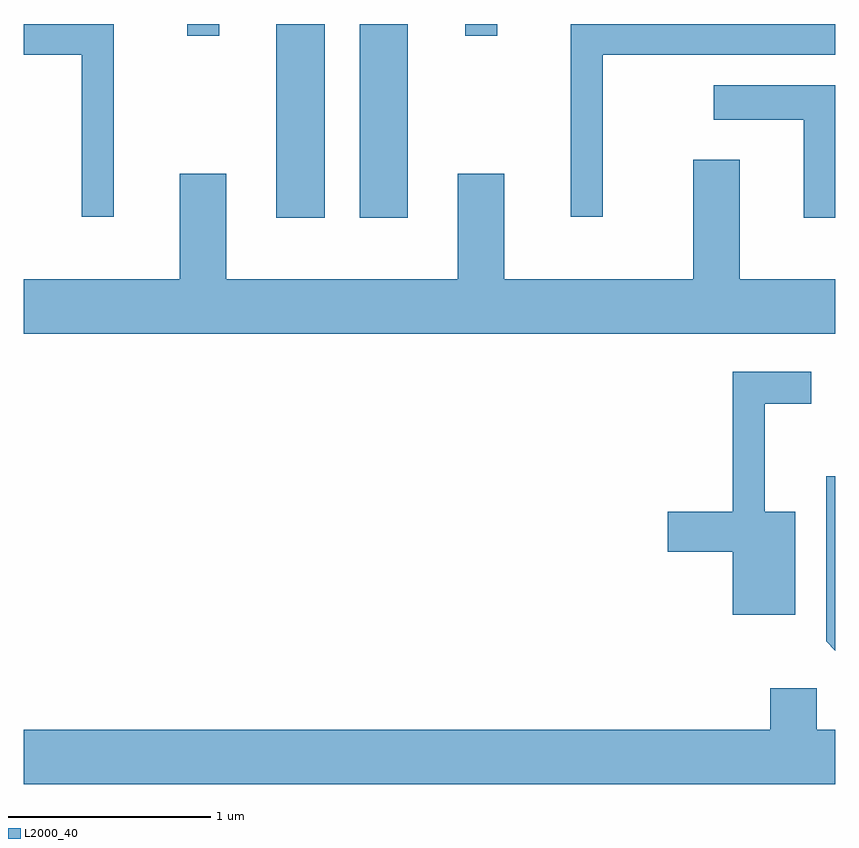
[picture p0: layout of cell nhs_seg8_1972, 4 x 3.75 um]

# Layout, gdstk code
import gdstk
lib = gdstk.Library(unit=1e-6, precision=1e-09)
def R(c, l, rs):  # rectangles x0, y0, x1, y1
    for r in rs: c.add(gdstk.rectangle(r[:2], r[2:], *l))
def P(c, l, *ps):  # polygons
    for p in ps: c.add(gdstk.Polygon(p, *l))
L2000_40 = (2000, 40)

nhs_seg8_1972 = lib.new_cell('nhs_seg8_1972')
R(nhs_seg8_1972, L2000_40, [(244.856,1881.386,245.094,1882.342), (245.266,1881.386,245.504,1882.342), (244.416,1882.283,244.574,1882.342), (245.786,1882.283,245.944,1882.342)])
P(nhs_seg8_1972, L2000_40, [(244.054,1882.342),(243.611,1882.342),(243.611,1882.191),(243.896,1882.191),(243.896,1881.393),(244.054,1881.393)],
  [(246.464,1882.191),(247.611,1882.191),(247.611,1882.342),(246.306,1882.342),(246.306,1881.393),(246.464,1881.393)],
  [(247.611,1882.039),(247.013,1882.039),(247.013,1881.871),(247.456,1881.871),(247.456,1881.386),(247.611,1881.386)],
  [(247.611,1881.084),(247.139,1881.084),(247.139,1881.674),(246.911,1881.674),(246.911,1881.084),(245.979,1881.084),(245.979,1881.604),(245.751,1881.604),(245.751,1881.084),(244.609,1881.084),(244.609,1881.604),(244.381,1881.604),(244.381,1881.084),(243.611,1881.084),(243.611,1880.816),(247.611,1880.816)],
  [(247.414,1879.939),(247.264,1879.939),(247.264,1880.471),(247.493,1880.471),(247.493,1880.629),(247.106,1880.629),(247.106,1879.939),(246.786,1879.939),(246.786,1879.741),(247.106,1879.741),(247.106,1879.431),(247.414,1879.431)],
  [(247.611,1880.113),(247.566,1880.113),(247.566,1879.299),(247.611,1879.254)],
  [(247.611,1878.864),(247.519,1878.864),(247.519,1879.069),(247.291,1879.069),(247.291,1878.864),(243.611,1878.864),(243.611,1878.596),(247.611,1878.596)])

lib.write_gds('nhs_seg8_1972.gds')
